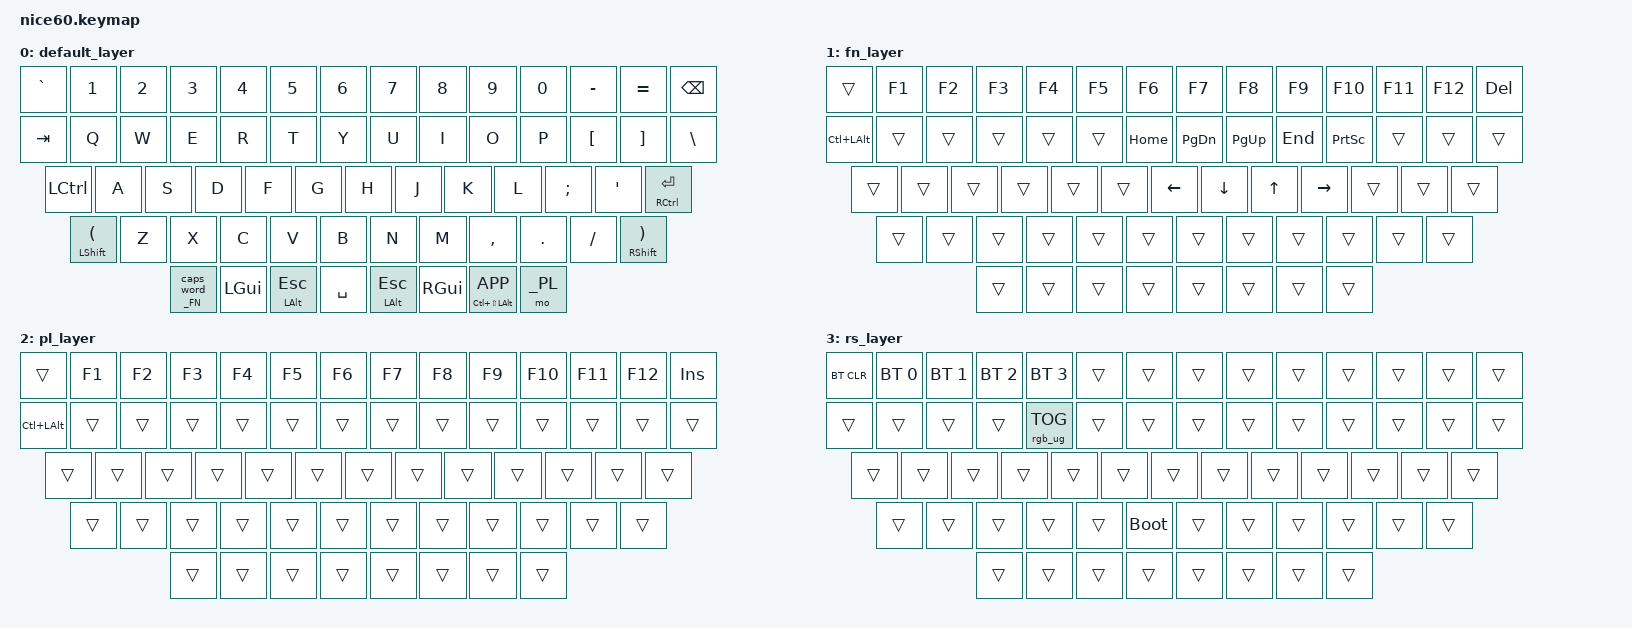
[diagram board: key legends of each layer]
/*
 * Copyright (c) 2023-2024 David Fiander
 *
 * SPDX-License-Identifier: MIT
 */

#include <behaviors.dtsi>
#include <dt-bindings/zmk/keys.h>
#include <dt-bindings/zmk/rgb.h>
#include <dt-bindings/zmk/bt.h>
#include <dt-bindings/zmk/outputs.h>
#include <dt-bindings/zmk/reset.h>
#include <dt-bindings/zmk/ext_power.h>

#define MEH LC(LS(LALT))

// Space Cadet parens
#define LSPO &mt LSHFT LPAR
#define RSPO &mt RSHFT RPAR

// Alt / ESC
#define ALTESC &mt LALT ESC


#define _FN 1
#define _PL 2
#define _RS 3

&caps_word {
	   continue-list = <UNDERSCORE MINUS BACKSPACE DELETE>;
};

&gresc {
	   keep-mods = <(MOD_RSFT|MOD_LSFT)>;
};

/ {
    conditional_layers {
        compatible = "zmk,conditional-layers";
        tri_layer {
            if-layers = <_FN _PL>;
            then-layer = <_RS>;
        };
    };
};

/ {
	behaviors {
		    layer_caps: behavior_layer_caps_word {
		    		compatible = "zmk,behavior-hold-tap";
				label="LAYER_CAPS";
				flavor="tap-preferred";
				tapping-term-ms=<200>;
				#binding-cells = <2>;
				bindings = <&mo>, <&caps_word>;
		    };
	};

	keymap {
		compatible = "zmk,keymap";

		default_layer {
			bindings = <
	&kp GRAVE  &kp N1 &kp N2 &kp N3 &kp N4 &kp N5 &kp N6 &kp N7 &kp N8 &kp N9 &kp N0 &kp MINUS &kp EQUAL  &kp BSPC
	&kp TAB  &kp Q  &kp W  &kp E  &kp R  &kp T  &kp Y  &kp U  &kp I  &kp O  &kp P  &kp LBKT  &kp RBKT  &kp BSLH
	&kp LCTRL &kp A  &kp S  &kp D  &kp F  &kp G  &kp H  &kp J  &kp K  &kp L  &kp SEMI &kp SQT           &mt RCTL RET
	LSPO   &kp Z  &kp X  &kp C  &kp V  &kp B  &kp N  &kp M  &kp COMMA &kp DOT &kp FSLH           RSPO
	&layer_caps _FN 0 &kp LGUI ALTESC             &kp SPACE                     ALTESC  &kp RGUI  &mt MEH K_APP &mo _PL
			>;
		};

		fn_layer {
			bindings = <
	&trans    &kp F1    &kp F2    &kp F3    &kp F4    &kp F5    &kp F6    &kp F7     &kp F8   &kp F9    &kp F10     &kp F11   &kp F12    &kp DEL
	&kp LC(LALT) &trans    &trans    &trans    &trans    &trans    &kp HOME  &kp PG_DN &kp PG_UP  &kp END  &kp PSCRN   &trans    &trans  &trans
	&trans         &trans    &trans    &trans    &trans    &trans    &kp LEFT  &kp DOWN   &kp UP   &kp RIGHT &trans    &trans    &trans
	&trans           &trans    &trans    &trans    &trans    &trans    &trans    &trans    &trans    &trans    &trans                     &trans
	&trans     &trans           &trans                                   &trans                          &trans    &trans    &trans       &trans
			>;
		};

		pl_layer {
			bindings = <
	&trans    &kp F1    &kp F2    &kp F3    &kp F4    &kp F5    &kp F6    &kp F7     &kp F8   &kp F9    &kp F10     &kp F11   &kp F12    &kp INS
	&kp LC(LALT) &trans    &trans    &trans    &trans    &trans    &trans    &trans    &trans    &trans    &trans    &trans    &trans    &trans
	&trans         &trans    &trans    &trans    &trans    &trans    &trans    &trans    &trans    &trans    &trans    &trans            &trans
	&trans           &trans    &trans    &trans    &trans    &trans    &trans    &trans    &trans    &trans    &trans                    &trans
	&trans     &trans    &trans                                   &trans                                   &trans    &trans    &trans    &trans
			>;
		};

		rs_layer {
			bindings = <
	&bt BT_CLR &bt BT_SEL 0 &bt BT_SEL 1 &bt BT_SEL 2  &bt BT_SEL 3 &trans    &trans    &trans    &trans    &trans    &trans    &trans    &trans    &trans
	&trans       &trans    &trans    &trans    &rgb_ug RGB_TOG &trans    &trans    &trans    &trans    &trans    &trans    &trans    &trans         &trans
	&trans         &trans    &trans    &trans    &trans    &trans    &trans    &trans    &trans    &trans    &trans    &trans                       &trans
	&trans          &trans    &trans    &trans    &trans    &bootloader          &trans    &trans    &trans    &trans    &trans                     &trans
	&trans        &trans    &trans                                   &trans                                   &trans       &trans       &trans      &trans
			>;
		};
	};
};
